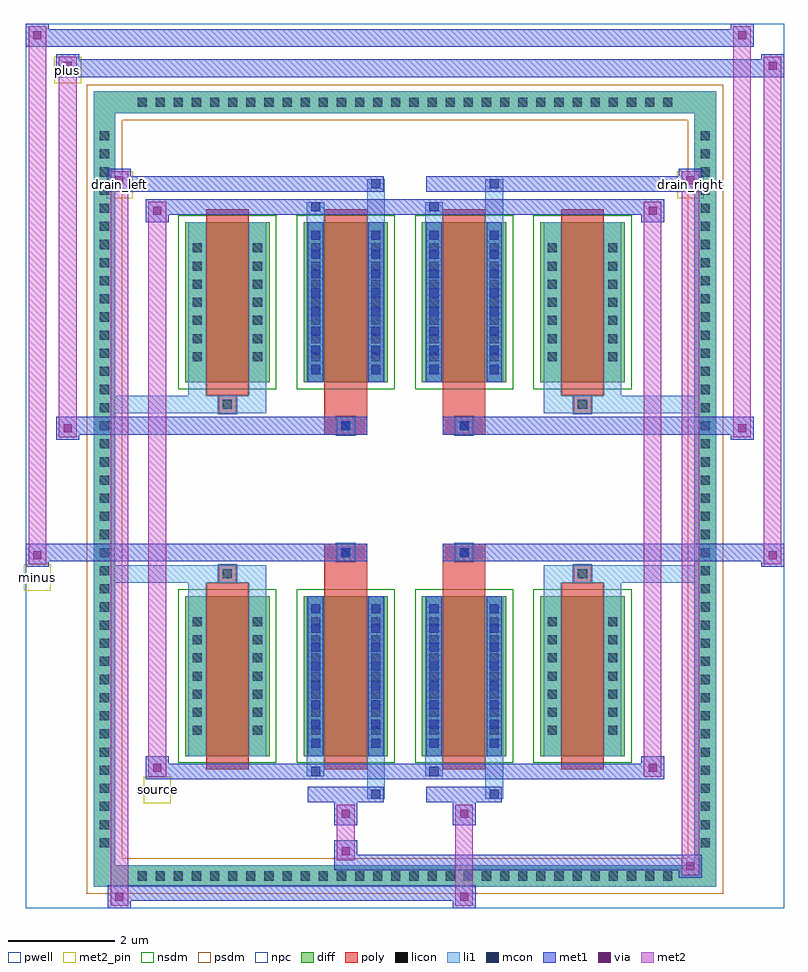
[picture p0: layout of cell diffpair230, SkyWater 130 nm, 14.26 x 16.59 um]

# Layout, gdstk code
import gdstk
lib = gdstk.Library(unit=1e-6, precision=5e-09)
def R(c, l, rs):  # rectangles x0, y0, x1, y1
    for r in rs: c.add(gdstk.rectangle(r[:2], r[2:], *l))
def A(c, l, x, y, w, h, nx, ny, dx, dy):  # array of equal rectangles
    R(c, l, [(x+i*dx, y+j*dy, x+i*dx+w, y+j*dy+h) for i in range(nx) for j in range(ny)])
def P(c, l, *ps):  # polygons
    for p in ps: c.add(gdstk.Polygon(p, *l))
pwell = (64, 44)
diff = (65, 20)
poly = (66, 20)
licon = (66, 44)
li1 = (67, 20)
mcon = (67, 44)
met1 = (68, 20)
via = (68, 44)
met2_pin = (69, 16)
met2 = (69, 20)
nsdm = (93, 44)
psdm = (94, 20)
npc = (95, 20)

diffpair230 = lib.new_cell('diffpair230')
R(diffpair230, pwell, [(-7.11,-7.86,7.11,8.73), (-4.43,-6.05,-0.01,-0.825), (0.01,-6.05,4.43,-0.825), (-4.43,0.825,-0.01,6.05), (0.01,0.825,4.43,6.05)])
A(diffpair230, diff, -5.135, -7.46, 0.41, 0.41, 30, 2, 0.34, 14.51)
A(diffpair230, diff, -5.84, -6.835, 0.41, 0.41, 1, 40, 0, 0.34)
A(diffpair230, diff, 5.43, -6.835, 0.41, 0.41, 1, 40, 0, 0.34)
A(diffpair230, diff, -4.12, -5.005, 1.58, 3, 4, 2, 2.22, 7.01)
R(diffpair230, diff, [(-5.135,-7.46,5.135,-7.05), (-5.84,-6.835,-5.43,6.835), (5.43,-6.835,5.84,6.835), (-5.135,7.05,5.135,7.46)])
P(diffpair230, diff, [(5.84,7.46),(-5.84,7.46),(-5.84,-7.05),(-5.43,-7.05),(-5.43,7.05),(5.43,7.05),(5.43,-7.05),(-5.43,-7.05),(-5.84,-7.05),(-5.84,-7.46),(5.84,-7.46)])
A(diffpair230, poly, -3.73, -5.255, 0.8, 3.5, 4, 2, 2.22, 7.01)
R(diffpair230, poly, [(-3.495,-1.755,-3.165,-1.425), (-3.495,-1.755,-3.165,-1.425), (-1.51,-1.755,-0.71,-1.355), (0.71,-1.755,1.51,-1.355), (3.165,-1.755,3.495,-1.425), (3.165,-1.755,3.495,-1.425), (-1.51,-1.355,-0.71,-1.025), (-1.275,-1.355,-0.945,-1.025), (0.71,-1.355,1.51,-1.025), (0.945,-1.355,1.275,-1.025), (-1.51,1.025,-0.71,1.355), (-1.275,1.025,-0.945,1.355), (0.71,1.025,1.51,1.355), (0.945,1.025,1.275,1.355), (-1.51,1.355,-0.71,1.755), (0.71,1.355,1.51,1.755), (-3.495,1.425,-3.165,1.755), (-3.495,1.425,-3.165,1.755), (3.165,1.425,3.495,1.755), (3.165,1.425,3.495,1.755)])
A(diffpair230, licon, -5.015, -7.34, 0.17, 0.17, 30, 2, 0.34, 14.51)
A(diffpair230, licon, -5.72, -6.715, 0.17, 0.17, 1, 40, 0, 0.34)
A(diffpair230, licon, 5.55, -6.715, 0.17, 0.17, 1, 40, 0, 0.34)
A(diffpair230, licon, -3.98, -4.61, 0.17, 0.17, 1, 7, 0, 0.34)
A(diffpair230, licon, -2.85, -4.61, 0.17, 0.17, 1, 7, 0, 0.34)
A(diffpair230, licon, -1.76, -4.61, 0.17, 0.17, 1, 7, 0, 0.34)
A(diffpair230, licon, -0.63, -4.61, 0.17, 0.17, 1, 7, 0, 0.34)
A(diffpair230, licon, 0.46, -4.61, 0.17, 0.17, 1, 7, 0, 0.34)
A(diffpair230, licon, 1.59, -4.61, 0.17, 0.17, 1, 7, 0, 0.34)
A(diffpair230, licon, 2.68, -4.61, 0.17, 0.17, 1, 7, 0, 0.34)
A(diffpair230, licon, 3.81, -4.61, 0.17, 0.17, 1, 7, 0, 0.34)
A(diffpair230, licon, -3.98, 2.4, 0.17, 0.17, 1, 7, 0, 0.34)
A(diffpair230, licon, -2.85, 2.4, 0.17, 0.17, 1, 7, 0, 0.34)
A(diffpair230, licon, -1.76, 2.4, 0.17, 0.17, 1, 7, 0, 0.34)
A(diffpair230, licon, -0.63, 2.4, 0.17, 0.17, 1, 7, 0, 0.34)
A(diffpair230, licon, 0.46, 2.4, 0.17, 0.17, 1, 7, 0, 0.34)
A(diffpair230, licon, 1.59, 2.4, 0.17, 0.17, 1, 7, 0, 0.34)
A(diffpair230, licon, 2.68, 2.4, 0.17, 0.17, 1, 7, 0, 0.34)
A(diffpair230, licon, 3.81, 2.4, 0.17, 0.17, 1, 7, 0, 0.34)
R(diffpair230, licon, [(-3.415,-1.675,-3.245,-1.505), (3.245,-1.675,3.415,-1.505), (-1.195,-1.275,-1.025,-1.105), (1.025,-1.275,1.195,-1.105), (-1.195,1.105,-1.025,1.275), (1.025,1.105,1.195,1.275), (-3.415,1.505,-3.245,1.675), (3.245,1.505,3.415,1.675)])
A(diffpair230, li1, -5.095, -7.42, 0.33, 0.33, 30, 2, 0.34, 14.51)
A(diffpair230, li1, -5.8, -6.795, 0.33, 0.33, 1, 40, 0, 0.34)
A(diffpair230, li1, 5.47, -6.795, 0.33, 0.33, 1, 40, 0, 0.34)
A(diffpair230, li1, -1.76, -4.85, 0.17, 0.17, 1, 8, 0, 0.36)
A(diffpair230, li1, -0.63, -4.85, 0.17, 0.17, 1, 8, 0, 0.36)
A(diffpair230, li1, 0.46, -4.85, 0.17, 0.17, 1, 8, 0, 0.36)
A(diffpair230, li1, 1.59, -4.85, 0.17, 0.17, 1, 8, 0, 0.36)
A(diffpair230, li1, -4.06, -4.69, 0.33, 0.33, 1, 7, 0, 0.34)
A(diffpair230, li1, -2.93, -4.69, 0.33, 0.33, 1, 7, 0, 0.34)
A(diffpair230, li1, -1.84, -4.69, 0.33, 0.33, 1, 7, 0, 0.34)
A(diffpair230, li1, -0.71, -4.69, 0.33, 0.33, 1, 7, 0, 0.34)
A(diffpair230, li1, 0.38, -4.69, 0.33, 0.33, 1, 7, 0, 0.34)
A(diffpair230, li1, 1.51, -4.69, 0.33, 0.33, 1, 7, 0, 0.34)
A(diffpair230, li1, 2.6, -4.69, 0.33, 0.33, 1, 7, 0, 0.34)
A(diffpair230, li1, 3.73, -4.69, 0.33, 0.33, 1, 7, 0, 0.34)
A(diffpair230, li1, -1.76, 2.16, 0.17, 0.17, 1, 8, 0, 0.36)
A(diffpair230, li1, -0.63, 2.16, 0.17, 0.17, 1, 8, 0, 0.36)
A(diffpair230, li1, 0.46, 2.16, 0.17, 0.17, 1, 8, 0, 0.36)
A(diffpair230, li1, 1.59, 2.16, 0.17, 0.17, 1, 8, 0, 0.36)
A(diffpair230, li1, -4.06, 2.32, 0.33, 0.33, 1, 7, 0, 0.34)
A(diffpair230, li1, -2.93, 2.32, 0.33, 0.33, 1, 7, 0, 0.34)
A(diffpair230, li1, -1.84, 2.32, 0.33, 0.33, 1, 7, 0, 0.34)
A(diffpair230, li1, -0.71, 2.32, 0.33, 0.33, 1, 7, 0, 0.34)
A(diffpair230, li1, 0.38, 2.32, 0.33, 0.33, 1, 7, 0, 0.34)
A(diffpair230, li1, 1.51, 2.32, 0.33, 0.33, 1, 7, 0, 0.34)
A(diffpair230, li1, 2.6, 2.32, 0.33, 0.33, 1, 7, 0, 0.34)
A(diffpair230, li1, 3.73, 2.32, 0.33, 0.33, 1, 7, 0, 0.34)
R(diffpair230, li1, [(-5.84,-7.46,-5.43,-7.05), (-5.84,-7.46,-5.43,-7.05), (-5.43,-7.46,5.43,-7.05), (5.43,-7.46,5.84,-7.05), (5.43,-7.46,5.84,-7.05), (-5.84,-7.05,-5.43,7.05), (5.43,-7.05,5.84,7.05), (-0.71,-5.81,-0.38,-5.005), (-0.63,-5.81,-0.46,-5.64), (1.51,-5.81,1.84,-5.005), (1.59,-5.81,1.76,-5.64), (-1.84,-5.38,-1.51,-5.005), (-1.76,-5.38,-1.59,-5.21), (0.38,-5.38,0.71,-5.005), (0.46,-5.38,0.63,-5.21), (-4.06,-5.005,-3.73,-2.005), (-2.93,-5.005,-2.6,-2.005), (-1.84,-5.005,-1.51,-2.005), (-0.71,-5.005,-0.38,-2.005), (0.38,-5.005,0.71,-2.005), (1.51,-5.005,1.84,-2.005), (2.6,-5.005,2.93,-2.005), (3.73,-5.005,4.06,-2.005), (-1.76,-4.85,-1.59,-2.16), (-0.63,-4.85,-0.46,-2.16), (0.46,-4.85,0.63,-2.16), (1.59,-4.85,1.76,-2.16), (-4.06,-2.005,-3.73,-1.425), (-2.93,-2.005,-2.6,-1.425), (2.6,-2.005,2.93,-1.425), (3.73,-2.005,4.06,-1.425), (-5.84,-1.755,-3.495,-1.425), (-4.06,-1.755,-3.495,-1.425), (-3.495,-1.755,-3.165,-1.425), (-3.165,-1.755,-2.6,-1.425), (2.6,-1.755,3.165,-1.425), (3.165,-1.755,3.495,-1.425), (3.165,-1.755,5.84,-1.425), (3.495,-1.755,4.06,-1.425), (-1.275,-1.355,-0.945,-1.025), (0.945,-1.355,1.275,-1.025), (-1.275,1.025,-0.945,1.355), (0.945,1.025,1.275,1.355), (-5.84,1.425,-3.495,1.755), (-4.06,1.425,-3.495,1.755), (-4.06,1.425,-3.73,2.005), (-3.495,1.425,-3.165,1.755), (-3.165,1.425,-2.6,1.755), (-2.93,1.425,-2.6,2.005), (2.6,1.425,3.165,1.755), (2.6,1.425,2.93,2.005), (3.165,1.425,3.495,1.755), (3.165,1.425,5.84,1.755), (3.495,1.425,4.06,1.755), (3.73,1.425,4.06,2.005), (-4.06,2.005,-3.73,5.005), (-2.93,2.005,-2.6,5.005), (-1.84,2.005,-1.51,5.005), (-0.71,2.005,-0.38,5.005), (0.38,2.005,0.71,5.005), (1.51,2.005,1.84,5.005), (2.6,2.005,2.93,5.005), (3.73,2.005,4.06,5.005), (-1.76,2.16,-1.59,4.85), (-0.63,2.16,-0.46,4.85), (0.46,2.16,0.63,4.85), (1.59,2.16,1.76,4.85), (-1.84,5.005,-1.51,5.38), (-0.71,5.005,-0.38,5.81), (0.38,5.005,0.71,5.38), (1.51,5.005,1.84,5.81), (-1.76,5.21,-1.59,5.38), (0.46,5.21,0.63,5.38), (-0.63,5.64,-0.46,5.81), (1.59,5.64,1.76,5.81), (-5.84,7.05,-5.43,7.46), (-5.84,7.05,-5.43,7.46), (-5.43,7.05,5.43,7.46), (5.43,7.05,5.84,7.46), (5.43,7.05,5.84,7.46)])
A(diffpair230, mcon, -1.76, -4.85, 0.17, 0.17, 1, 8, 0, 0.36)
A(diffpair230, mcon, -0.63, -4.85, 0.17, 0.17, 1, 8, 0, 0.36)
A(diffpair230, mcon, 0.46, -4.85, 0.17, 0.17, 1, 8, 0, 0.36)
A(diffpair230, mcon, 1.59, -4.85, 0.17, 0.17, 1, 8, 0, 0.36)
A(diffpair230, mcon, -1.76, 2.16, 0.17, 0.17, 1, 8, 0, 0.36)
A(diffpair230, mcon, -0.63, 2.16, 0.17, 0.17, 1, 8, 0, 0.36)
A(diffpair230, mcon, 0.46, 2.16, 0.17, 0.17, 1, 8, 0, 0.36)
A(diffpair230, mcon, 1.59, 2.16, 0.17, 0.17, 1, 8, 0, 0.36)
R(diffpair230, mcon, [(-0.63,-5.81,-0.46,-5.64), (1.59,-5.81,1.76,-5.64), (-1.76,-5.38,-1.59,-5.21), (0.46,-5.38,0.63,-5.21), (-1.195,-1.275,-1.025,-1.105), (1.025,-1.275,1.195,-1.105), (-1.195,1.105,-1.025,1.275), (1.025,1.105,1.195,1.275), (-1.76,5.21,-1.59,5.38), (0.46,5.21,0.63,5.38), (-0.63,5.64,-0.46,5.81), (1.59,5.64,1.76,5.81)])
A(diffpair230, met1, -1.82, -4.91, 0.29, 0.29, 1, 8, 0, 0.36)
A(diffpair230, met1, -0.69, -4.91, 0.29, 0.29, 1, 8, 0, 0.36)
A(diffpair230, met1, 0.4, -4.91, 0.29, 0.29, 1, 8, 0, 0.36)
A(diffpair230, met1, 1.53, -4.91, 0.29, 0.29, 1, 8, 0, 0.36)
A(diffpair230, met1, -1.82, 2.1, 0.29, 0.29, 1, 8, 0, 0.36)
A(diffpair230, met1, -0.69, 2.1, 0.29, 0.29, 1, 8, 0, 0.36)
A(diffpair230, met1, 0.4, 2.1, 0.29, 0.29, 1, 8, 0, 0.36)
A(diffpair230, met1, 1.53, 2.1, 0.29, 0.29, 1, 8, 0, 0.36)
R(diffpair230, met1, [(-5.57,-7.86,-5.14,-7.43), (0.895,-7.86,1.325,-7.43), (-5.57,-7.72,1.325,-7.43), (5.14,-7.29,5.57,-6.86), (-1.325,-7.15,5.57,-6.86), (-1.325,-7.01,-0.895,-6.58), (-1.325,-6.3,-0.895,-5.87), (0.895,-6.3,1.325,-5.87), (-1.82,-5.87,-0.4,-5.58), (-0.69,-5.87,-0.4,-5.58), (0.4,-5.87,1.82,-5.58), (1.53,-5.87,1.82,-5.58), (-4.86,-5.44,-4.43,-5.01), (-4.86,-5.44,-1.82,-5.15), (-1.82,-5.44,-1.53,-5.15), (-1.82,-5.44,-0.4,-5.15), (-0.4,-5.44,0.4,-5.15), (0.4,-5.44,0.69,-5.15), (0.4,-5.44,1.82,-5.15), (1.82,-5.44,4.86,-5.15), (4.43,-5.44,4.86,-5.01), (-1.82,-5.005,-1.53,-2.005), (-0.69,-5.005,-0.4,-2.005), (0.4,-5.005,0.69,-2.005), (1.53,-5.005,1.82,-2.005), (-7.11,-1.455,-6.68,-1.025), (6.68,-1.455,7.11,-1.025), (-7.11,-1.355,-0.71,-1.025), (-1.51,-1.355,-0.71,-1.025), (0.71,-1.355,1.51,-1.025), (0.71,-1.355,7.11,-1.025), (-1.255,-1.335,-0.965,-1.045), (0.965,-1.335,1.255,-1.045), (-6.54,0.925,-6.11,1.355), (6.11,0.925,6.54,1.355), (-6.54,1.025,-1.51,1.355), (-1.51,1.025,-0.71,1.355), (0.71,1.025,1.51,1.355), (1.51,1.025,6.54,1.355), (-1.255,1.045,-0.965,1.335), (0.965,1.045,1.255,1.335), (-1.82,2.005,-1.53,5.005), (-0.69,2.005,-0.4,5.005), (0.4,2.005,0.69,5.005), (1.53,2.005,1.82,5.005), (-4.86,5.01,-4.43,5.44), (4.43,5.01,4.86,5.44), (-4.86,5.15,-1.82,5.44), (-1.82,5.15,-1.53,5.44), (-1.82,5.15,-0.4,5.44), (-0.4,5.15,0.4,5.44), (0.4,5.15,0.69,5.44), (0.4,5.15,1.82,5.44), (1.82,5.15,4.86,5.44), (-5.57,5.58,-5.14,6.01), (-5.57,5.58,-1.82,5.87), (-1.82,5.58,-0.4,5.87), (-0.69,5.58,-0.4,5.87), (0.4,5.58,1.82,5.87), (1.53,5.58,1.82,5.87), (1.82,5.58,5.57,5.87), (5.14,5.58,5.57,6.01), (-6.54,7.73,-6.11,8.16), (-6.54,7.73,-4.43,8.06), (-4.43,7.73,4.43,8.06), (4.43,7.73,7.11,8.06), (6.68,7.73,7.11,8.16), (-7.11,8.3,-6.68,8.73), (-7.11,8.3,-4.43,8.63), (-4.43,8.3,4.43,8.63), (4.43,8.3,6.54,8.63), (6.11,8.3,6.54,8.73)])
R(diffpair230, via, [(-5.43,-7.72,-5.28,-7.57), (1.035,-7.72,1.185,-7.57), (5.28,-7.15,5.43,-7), (-1.185,-6.87,-1.035,-6.72), (-1.185,-6.16,-1.035,-6.01), (1.035,-6.16,1.185,-6.01), (-4.72,-5.3,-4.57,-5.15), (4.57,-5.3,4.72,-5.15), (-6.97,-1.315,-6.82,-1.165), (6.82,-1.315,6.97,-1.165), (-6.4,1.065,-6.25,1.215), (6.25,1.065,6.4,1.215), (-4.72,5.15,-4.57,5.3), (4.57,5.15,4.72,5.3), (-5.43,5.72,-5.28,5.87), (5.28,5.72,5.43,5.87), (-6.4,7.87,-6.25,8.02), (6.82,7.87,6.97,8.02), (-6.97,8.44,-6.82,8.59), (6.25,8.44,6.4,8.59)])
R(diffpair230, met2_pin, [(-4.895,-5.89,-4.395,-5.39), (-7.145,-1.905,-6.645,-1.405), (-5.605,5.46,-5.105,5.96), (5.105,5.46,5.605,5.96), (-6.575,7.61,-6.075,8.11)])
R(diffpair230, met2, [(-5.52,-7.81,-5.19,-7.48), (-5.52,-7.81,-5.19,5.96), (0.945,-7.81,1.275,-7.48), (0.945,-7.48,1.275,-6.25), (5.19,-7.24,5.52,-6.91), (5.19,-7.24,5.52,5.96), (-1.275,-6.96,-0.945,-6.63), (-1.275,-6.63,-0.945,-6.25), (-1.275,-6.25,-0.945,-5.92), (0.945,-6.25,1.275,-5.92), (-4.81,-5.39,-4.48,-5.06), (-4.81,-5.39,-4.48,5.39), (4.48,-5.39,4.81,-5.06), (4.48,-5.39,4.81,5.39), (-7.06,-1.405,-6.73,-1.075), (-7.06,-1.405,-6.73,8.68), (6.73,-1.405,7.06,-1.075), (6.73,-1.405,7.06,8.11), (-6.49,0.975,-6.16,1.305), (-6.49,0.975,-6.16,8.11), (6.16,0.975,6.49,1.305), (6.16,0.975,6.49,8.68), (-4.81,5.06,-4.48,5.39), (4.48,5.06,4.81,5.39), (-5.52,5.63,-5.19,5.96), (5.19,5.63,5.52,5.96), (-6.49,7.78,-6.16,8.11), (6.73,7.78,7.06,8.11), (-7.06,8.35,-6.73,8.68), (6.16,8.35,6.49,8.68)])
P(diffpair230, met2, [(7.06,-1.405),(7.06,-1.405),(7.06,-1.075),(7.06,-1.075)],
  [(7.06,7.78),(7.06,7.78),(7.06,8.11),(7.06,8.11)],
  [(-6.73,-1.405),(-6.73,-1.405),(-6.73,-1.075),(-6.73,-1.075)],
  [(-6.73,8.35),(-6.73,8.35),(-6.73,8.68),(-6.73,8.68)],
  [(6.49,0.975),(6.49,0.975),(6.49,1.305),(6.49,1.305)],
  [(6.49,8.35),(6.49,8.35),(6.49,8.68),(6.49,8.68)],
  [(-6.16,0.975),(-6.16,0.975),(-6.16,1.305),(-6.16,1.305)],
  [(-6.16,7.78),(-6.16,7.78),(-6.16,8.11),(-6.16,8.11)],
  [(-5.19,-7.81),(-5.19,-7.81),(-5.19,-7.48),(-5.19,-7.48)],
  [(-5.19,5.63),(-5.19,5.63),(-5.19,5.96),(-5.19,5.96)],
  [(5.52,-7.24),(5.52,-7.24),(5.52,-6.91),(5.52,-6.91)],
  [(5.52,5.63),(5.52,5.63),(5.52,5.96),(5.52,5.96)],
  [(-4.48,-5.39),(-4.48,-5.39),(-4.48,-5.06),(-4.48,-5.06)],
  [(-4.48,5.06),(-4.48,5.06),(-4.48,5.39),(-4.48,5.39)],
  [(4.81,-5.39),(4.81,-5.39),(4.81,-5.06),(4.81,-5.06)],
  [(4.81,5.06),(4.81,5.06),(4.81,5.39),(4.81,5.39)])
A(diffpair230, nsdm, -4.25, -5.135, 1.84, 3.26, 4, 2, 2.22, 7.01)
P(diffpair230, psdm, [(5.97,7.59),(-5.97,7.59),(-5.97,-6.92),(-5.3,-6.92),(-5.3,6.92),(5.3,6.92),(5.3,-6.92),(-5.3,-6.92),(-5.97,-6.92),(-5.97,-7.59),(5.97,-7.59)])
R(diffpair230, npc, [(-3.515,-1.775,-3.145,-1.405), (3.145,-1.775,3.515,-1.405), (-1.295,-1.375,-0.925,-1.005), (0.925,-1.375,1.295,-1.005), (-1.295,1.005,-0.925,1.375), (0.925,1.005,1.295,1.375), (-3.515,1.405,-3.145,1.775), (3.145,1.405,3.515,1.775)])
diffpair230.add(gdstk.Label('minus', (-6.895,-1.655), layer=69, texttype=5))
diffpair230.add(gdstk.Label('drain_right', (5.355,5.71), layer=69, texttype=5))
diffpair230.add(gdstk.Label('drain_left', (-5.355,5.71), layer=69, texttype=5))
diffpair230.add(gdstk.Label('source', (-4.645,-5.64), layer=69, texttype=5))
diffpair230.add(gdstk.Label('plus', (-6.325,7.86), layer=69, texttype=5))

lib.write_gds('diffpair230.gds')
